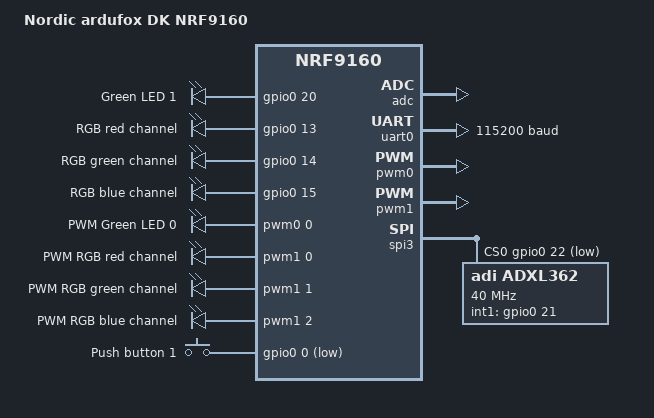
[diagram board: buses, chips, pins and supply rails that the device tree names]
/*
 * Copyright (c) 2018-2020 Nordic Semiconductor ASA
 *
 * SPDX-License-Identifier: Apache-2.0
 */
#include "ardufox_nrf9160_common-pinctrl.dtsi"
#include <zephyr/dt-bindings/input/input-event-codes.h>

/ {
	model = "Nordic ardufox DK NRF9160";
	compatible = "nordic,nrf9160-dk-nrf9160";

	chosen {
		zephyr,console = &uart0;
		zephyr,shell-uart = &uart0;
		zephyr,uart-mcumgr = &uart0;
	};

	leds {
		compatible = "gpio-leds";
		led0: led_0 {
			gpios = <&gpio0 20 0>;
			label = "Green LED 1";
		};
		rgb_red_led: led_1 {
			gpios = <&gpio0 13 0>;
			label = "RGB red channel";
		};
		rgb_green_led: led_2 {
			gpios = <&gpio0 14 0>;
			label = "RGB green channel";
		};
		rgb_blue_led: led_3 {
			gpios = <&gpio0 15 0>;
			label = "RGB blue channel";
		};
	};

	pwmleds {
		compatible = "pwm-leds";
		pwm_led0: pwm_led_0 {
			pwms = <&pwm0 0 PWM_MSEC(20) PWM_POLARITY_NORMAL>;
			label = "PWM Green LED 0";
		};

		pwm_rgb_red_led: pwm_rgb_red_led {
			pwms = <&pwm1 0 PWM_MSEC(20) PWM_POLARITY_NORMAL>;
			label = "PWM RGB red channel";
		};
		pwm_rgb_green_led: pwm_rgb_green_led {
			pwms = <&pwm1 1 PWM_MSEC(20) PWM_POLARITY_NORMAL>;
			label = "PWM RGB green channel";
		};
		pwm_rgb_blue_led: pwm_rgb_blue_led {
			pwms = <&pwm1 2 PWM_MSEC(20) PWM_POLARITY_NORMAL>;
			label = "PWM RGB blue channel";
		};

	};

	buttons {
		compatible = "gpio-keys";
		button0: button_0 {
			gpios = <&gpio0 0 (GPIO_PULL_UP | GPIO_ACTIVE_LOW)>;
			label = "Push button 1";
			zephyr,code = <INPUT_KEY_0>;
		};
	};

	/* These aliases are provided for compatibility with samples */
	aliases {
		led0 = &led0;
		pwm-led0 = &pwm_led0;
		sw0 = &button0;
		sense-led0 = &rgb_red_led;
		sense-led1 = &rgb_green_led;
		sense-led2 = &rgb_blue_led;
		rgb-pwm = &pwm1;
		bootloader-led0 = &led0;
		mcuboot-button0 = &button0;
		mcuboot-led0 = &led0;
		watchdog0 = &wdt0;
	};
};

&adc {
	status = "okay";
};

&gpiote {
	status = "okay";
};

&gpio0 {
	status = "okay";
};

&uart0 {
	status = "okay";
	current-speed = <115200>;
	pinctrl-0 = <&uart0_default>;
	pinctrl-1 = <&uart0_sleep>;
	pinctrl-names = "default", "sleep";
};

&pwm0 {
	status = "okay";
	pinctrl-0 = <&pwm0_default>;
	pinctrl-1 = <&pwm0_sleep>;
	pinctrl-names = "default", "sleep";
};

&pwm1 {
	status = "okay";
	pinctrl-0 = <&pwm1_default>;
	pinctrl-1 = <&pwm1_sleep>;
	pinctrl-names = "default", "sleep";
};

&spi3 {
	compatible = "nordic,nrf-spim";
	status = "okay";
	cs-gpios = <&gpio0 22 GPIO_ACTIVE_LOW>;
	pinctrl-0 = <&spi3_default>;
	pinctrl-1 = <&spi3_sleep>;
	pinctrl-names = "default", "sleep";
	adxl362: adxl362@0 {
		compatible = "adi,adxl362";
		reg = <0>;
		spi-max-frequency = <40000000>;
		int1-gpios = <&gpio0 21 0>;

	};
};

&flash0 {

	partitions {
		compatible = "fixed-partitions";
		#address-cells = <1>;
		#size-cells = <1>;

		boot_partition: partition@0 {
			label = "mcuboot";
			reg = <0x00000000 0x10000>;
		};
		slot0_partition: partition@10000 {
			label = "image-0";
		};
		slot0_ns_partition: partition@50000 {
			label = "image-0-nonsecure";
		};
		slot1_partition: partition@80000 {
			label = "image-1";
		};
		slot1_ns_partition: partition@c0000 {
			label = "image-1-nonsecure";
		};
		/* 0xf0000 to 0xf7fff reserved for TF-M partitions */
		storage_partition: partition@f8000 {
			label = "storage";
			reg = <0x000f8000 0x00008000>;
		};
	};
};

/ {

	reserved-memory {
		#address-cells = <1>;
		#size-cells = <1>;
		ranges;

		sram0_s: image_s@20000000 {
			/* Secure image memory */
		};

		sram0_modem: image_modem@20016000 {
			/* Modem (shared) memory */
		};

		sram0_ns: image_ns@20020000 {
			/* Non-Secure image memory */
		};
	};
};

/* Include partition configuration file */
#include "ardufox_nrf9160_partition_conf.dtsi"
